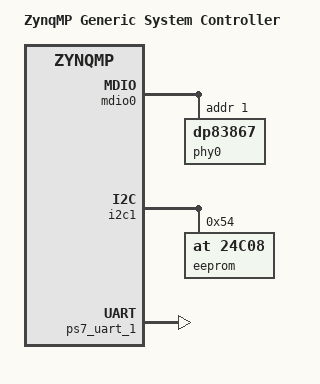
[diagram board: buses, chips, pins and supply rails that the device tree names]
/* Xilinx ZynqMP Generic System Controller revB
 *
 * Copyright (c) 2024, Advanced Micro Devices, Inc
 * All rights reserved.
 *
 * SPDX-License-Identifier: BSD-3-Clause
 */

/*
 * Attach EEPROM block device on the command line:
 *    -blockdev node-name=i2c1.eeprom-54,filename=<file>,driver=file
 *
 */

#define HAS_SMMU
#include "zynqmp.dtsh"

/dts-v1/;

#include "zynqmp-arm.dtsi"
#include "zynqmp-memory-regions.dtsi"
#include "zynqmp-boot-init.dtsi"

/ {
	model = "ZynqMP Generic System Controller";
	compatible = "xlnx,zynqmp-sc-revB", "xlnx,zynqmp-sc", "xlnx,zynqmp";

	mdio0: mdio {
		#address-cells = <1>;
		#size-cells = <0>;
		compatible="mdio";

		phy0: phy@1 {
			compatible = "dp83867";
			device_type = "ethernet-phy";
            reg = <1>;
		};
	};
};

&gem1 {
    mdio = <&mdio0>;
};

&i2c1 {
    eeprom@54 {
        compatible = "at,24c08";
        reg = <0x54>;
        size = <16384>;
        blockdev-node-name = "i2c1.eeprom-54";
    };
};

&ps7_qspi_0 {
	SPI_FLASH(qspi_flash_ucs_ub, "mt25qu512a", 0x02000000, 0x0 0x0)
};

&ps7_uart_1 {
    status = "okay";
};
